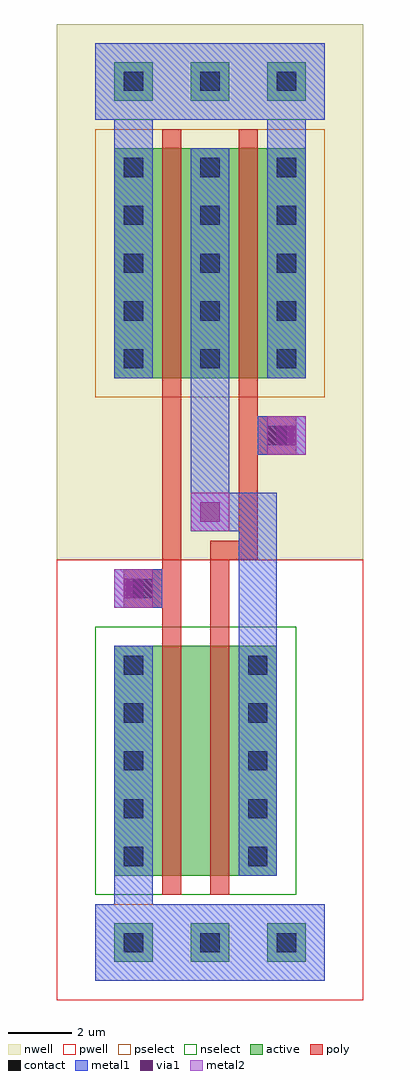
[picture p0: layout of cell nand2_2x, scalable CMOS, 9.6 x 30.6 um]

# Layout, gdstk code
import gdstk
lib = gdstk.Library(unit=1e-6, precision=1e-09)
def R(c, l, rs):  # rectangles x0, y0, x1, y1
    for r in rs: c.add(gdstk.rectangle(r[:2], r[2:], *l))
def A(c, l, x, y, w, h, nx, ny, dx, dy):  # array of equal rectangles
    R(c, l, [(x+i*dx, y+j*dy, x+i*dx+w, y+j*dy+h) for i in range(nx) for j in range(ny)])
contact = (25, 0)
pwell = (41, 0)
nwell = (42, 0)
active = (43, 0)
pselect = (44, 0)
nselect = (45, 0)
poly = (46, 0)
metal1 = (49, 0)
via1 = (50, 0)
metal2 = (51, 0)

nand2_2x = lib.new_cell('nand2_2x')
A(nand2_2x, contact, 0.3, -0.3, 0.6, 0.6, 3, 2, 2.4, 18.3)
A(nand2_2x, contact, 0.3, 2.4, 0.6, 0.6, 1, 5, 0, 1.5)
A(nand2_2x, contact, 4.2, 2.4, 0.6, 0.6, 1, 5, 0, 1.5)
A(nand2_2x, contact, 0.3, 19.5, 0.6, 0.6, 3, 4, 2.4, 1.5)
A(nand2_2x, contact, 0.3, 26.7, 0.6, 0.6, 3, 1, 2.4, 0)
R(nand2_2x, contact, [(0.6,10.8,1.2,11.4), (4.8,15.6,5.4,16.2)])
A(nand2_2x, pwell, -0.9, -1.5, 3, 3, 3, 1, 2.4, 0)
R(nand2_2x, pwell, [(-1.8,-1.8,7.8,12), (-1.8,0.3,3,11.1), (-1.2,0.3,4.8,11.1), (0.3,0.3,6.3,11.1), (2.1,0.3,6.9,11.1), (-1.65,3.45,2.925,7.95), (-0.075,3.45,5.175,7.95), (2.175,3.45,6.9,7.95)])
A(nand2_2x, nwell, -1.8, 15.9, 4.8, 10.8, 3, 1, 2.4, 0)
A(nand2_2x, nwell, -0.9, 25.5, 3, 3, 3, 1, 2.4, 0)
R(nand2_2x, nwell, [(-1.8,12,7.8,28.8), (-1.2,15.9,4.8,26.7), (1.2,15.9,7.2,26.7), (-1.65,19.05,2.925,23.55), (0.675,19.05,5.25,23.55), (0.75,19.05,5.325,23.55), (3.075,19.05,7.65,23.55)])
A(nand2_2x, active, 0, -0.6, 1.2, 1.2, 3, 2, 2.4, 27)
A(nand2_2x, active, 0, 17.7, 1.2, 7.2, 3, 1, 2.4, 0)
R(nand2_2x, active, [(0,2.1,1.2,9.3), (0.6,2.1,3,9.3), (2.1,2.1,4.5,9.3), (3.9,2.1,5.1,9.3), (0.15,5.25,1.125,6.15), (1.725,5.25,3.375,6.15), (3.975,5.25,5.1,6.15), (0.6,17.7,3,24.9), (3,17.7,5.4,24.9), (0.15,20.85,1.125,21.75), (2.475,20.85,3.45,21.75), (2.55,20.85,3.525,21.75), (4.875,20.85,5.85,21.75)])
A(nand2_2x, pselect, -0.6, -1.2, 2.4, 2.4, 3, 1, 2.4, 0)
A(nand2_2x, pselect, -0.6, 17.1, 2.4, 8.4, 3, 1, 2.4, 0)
R(nand2_2x, pselect, [(0,17.1,3.6,25.5), (2.4,17.1,6,25.5), (-0.45,20.25,1.725,22.35), (1.875,20.25,4.05,22.35), (1.95,20.25,4.125,22.35), (4.275,20.25,6.45,22.35)])
A(nand2_2x, nselect, -0.6, 25.8, 2.4, 2.4, 3, 1, 2.4, 0)
R(nand2_2x, nselect, [(-0.6,1.5,1.8,9.9), (0,1.5,3.6,9.9), (1.5,1.5,5.1,9.9), (3.3,1.5,5.7,9.9), (-0.45,4.65,1.725,6.75), (1.125,4.65,3.975,6.75), (3.375,4.65,5.7,6.75)])
R(nand2_2x, poly, [(1.5,1.5,2.1,9.9), (3,1.5,3.6,9.9), (1.5,9.6,2.1,11.4), (3,9.6,3.6,12.6), (0.3,10.5,1.5,11.7), (0.6,10.8,2.1,11.4), (1.5,10.8,2.1,17.4), (3,12,4.5,12.6), (3.9,12,4.5,16.2), (4.5,15.3,5.7,16.5), (3.9,15.6,5.4,16.2), (3.9,15.6,4.5,17.4), (1.5,17.1,2.1,25.5), (3.9,17.1,4.5,25.5)])
A(nand2_2x, metal1, 0, -0.6, 1.2, 1.2, 3, 2, 2.4, 27)
A(nand2_2x, metal1, 0, 17.7, 1.2, 7.2, 3, 1, 2.4, 0)
R(nand2_2x, metal1, [(-0.6,-1.2,1.8,1.2), (-0.6,-1.2,4.2,1.2), (-0.6,-1.2,4.2,1.2), (1.8,-1.2,6.6,1.2), (0,-0.6,1.2,3.3), (0,2.1,1.2,9.3), (3.9,2.1,5.1,9.3), (3.9,8.1,5.1,14.1), (0,10.5,1.2,11.7), (0,10.5,1.5,11.7), (0.3,10.5,1.5,11.7), (2.4,12.9,3.6,14.1), (2.4,12.9,3.6,18.9), (2.4,12.9,5.1,14.1), (4.5,15.3,5.7,16.5), (4.5,15.3,6,16.5), (4.8,15.3,6,16.5), (0,23.7,1.2,27.6), (4.8,23.7,6,27.6), (-0.6,25.8,1.8,28.2), (-0.6,25.8,4.2,28.2), (1.8,25.8,6.6,28.2), (0,26.4,1.2,27.6), (4.8,26.4,6,27.6)])
R(nand2_2x, via1, [(0.3,10.8,0.9,11.4), (2.7,13.2,3.3,13.8), (5.1,15.6,5.7,16.2)])
R(nand2_2x, metal2, [(0,10.5,1.2,11.7), (2.4,12.9,3.6,14.1), (4.8,15.3,6,16.5)])

lib.write_gds('nand2_2x.gds')
